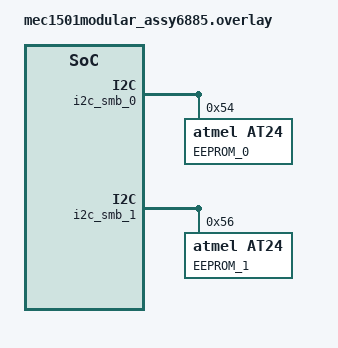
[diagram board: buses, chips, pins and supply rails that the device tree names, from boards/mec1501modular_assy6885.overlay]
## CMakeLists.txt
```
# SPDX-License-Identifier: Apache-2.0

cmake_minimum_required(VERSION 3.13.1)

find_package(Zephyr REQUIRED HINTS $ENV{ZEPHYR_BASE})
project(i2c_slave_api)

add_subdirectory(common)

FILE(GLOB app_sources src/*.c)

target_sources(app PRIVATE ${app_sources})
```

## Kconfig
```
# SPDX-License-Identifier: Apache-2.0

mainmenu "I2C Slave API Test"

source "Kconfig.zephyr"

source "tests/drivers/i2c/i2c_slave_api/common/Kconfig"
```

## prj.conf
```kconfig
CONFIG_LOG=y
CONFIG_I2C_LOG_LEVEL_INF=y
CONFIG_BOOT_BANNER=y
CONFIG_ZTEST=y
CONFIG_I2C=y
CONFIG_I2C_SLAVE=y
CONFIG_I2C_EEPROM_SLAVE=y
CONFIG_I2C_VIRTUAL=y
```

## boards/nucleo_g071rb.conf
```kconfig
# SPDX-License-Identifier: Apache-2.0

CONFIG_I2C_STM32_INTERRUPT=y
CONFIG_I2C_VIRTUAL=n
```

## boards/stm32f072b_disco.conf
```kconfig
CONFIG_I2C_STM32_INTERRUPT=y
CONFIG_I2C_VIRTUAL=n
```

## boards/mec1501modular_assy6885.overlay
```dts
/*
 * Copyright (c) 2020 Intel Corporation
 *
 * SPDX-License-Identifier: Apache-2.0
 */

&i2c_smb_0 {
	eeprom0: eeprom@54 {
		compatible = "atmel,at24";
		reg = <0x54>;
		label = "EEPROM_0";
		size = <1024>;
		pagesize = <16>;
		address-width = <8>;
		timeout = <5>;
	};
};


&i2c_smb_1 {
	eeprom1: eeprom@56 {
		compatible = "atmel,at24";
		reg = <0x56>;
		label = "EEPROM_1";
		size = <1024>;
		pagesize = <16>;
		address-width = <8>;
		timeout = <5>;
	};
};
```

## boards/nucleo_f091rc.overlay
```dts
/* SPDX-License-Identifier: Apache-2.0 */

&i2c1 {
	eeprom0: eeprom@54 {
		compatible = "atmel,at24";
		reg = <0x54>;
		label = "EEPROM_0";
		size = <1024>;
		pagesize = <16>;
		address-width = <8>;
		timeout = <5>;
	};
};


&i2c2 {
	eeprom1: eeprom@56 {
		compatible = "atmel,at24";
		reg = <0x56>;
		label = "EEPROM_1";
		size = <1024>;
		pagesize = <16>;
		address-width = <8>;
		timeout = <5>;
	};
};
```

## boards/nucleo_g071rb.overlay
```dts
/*
 * Copyright (c) 2020 Thomas Stranger
 * SPDX-License-Identifier: Apache-2.0
*/

/* I2C bus pins are exposed on the ST morpho header.
 *
 *  Bus        SDA               SCL
 *          Pin   Hdr         Pin   Hdr
 *  i2c1    PB9   CN10:5      PB8   CN10:3
 *  i2c2    PA12  CN10:12     PA11  CN10:14
 *
 * Short Pin PB9 to PA12, and PB8 to PA11, for the test to pass.
 */

&i2c1 {
	eeprom0: eeprom@54 {
		compatible = "atmel,at24";
		reg = <0x54>;
		label = "EEPROM_0";
		size = <1024>;
		pagesize = <16>;
		address-width = <8>;
		timeout = <5>;
	};
};

&i2c2 {
	eeprom1: eeprom@56 {
		compatible = "atmel,at24";
		reg = <0x56>;
		label = "EEPROM_1";
		size = <1024>;
		pagesize = <16>;
		address-width = <8>;
		timeout = <5>;
	};
};
```

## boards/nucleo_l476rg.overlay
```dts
/*
 * Copyright (c) 2020 Nordic Smiconductor ASA
 * SPDX-License-Identifier: Apache-2.0
 */

/* I2C bus pins are exposed in the Arduino Uno header.
 *
 *  Bus        SDA          SCL
 *          Pin   Hdr    Pin   Hdr
 *  i2c1    PB9   D14    PB8   D15
 *  i2c3    PC1   A4     PC0   A5
 *
 * Short D14 to A4, and D15 to A5, for the test to pass.
 */

&i2c1 {
	eeprom0: eeprom@54 {
		compatible = "atmel,at24";
		reg = <0x54>;
		label = "EEPROM_0";
		size = <1024>;
		pagesize = <16>;
		address-width = <8>;
		timeout = <5>;
	};
};

&i2c3 {
	eeprom1: eeprom@56 {
		compatible = "atmel,at24";
		reg = <0x56>;
		label = "EEPROM_1";
		size = <1024>;
		pagesize = <16>;
		address-width = <8>;
		timeout = <5>;
	};
};
```

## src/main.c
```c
/*
 * Copyright (c) 2017 BayLibre, SAS
 * Copyright (c) 2020 Nordic Semiconductor ASA
 *
 * SPDX-License-Identifier: Apache-2.0
 */

#include <errno.h>
#include <string.h>

#include <zephyr.h>
#include <device.h>
#include <stdio.h>
#include <sys/util.h>

#include <drivers/i2c.h>
#include <drivers/i2c/slave/eeprom.h>

#include <ztest.h>

#define NODE_EP0 DT_NODELABEL(eeprom0)
#define NODE_EP1 DT_NODELABEL(eeprom1)

#define TEST_DATA_SIZE	20
static const uint8_t eeprom_0_data[TEST_DATA_SIZE] = "0123456789abcdefghij";
static const uint8_t eeprom_1_data[TEST_DATA_SIZE] = "jihgfedcba9876543210";
static uint8_t i2c_buffer[TEST_DATA_SIZE];

/*
 * We need 5x(buffer size) + 1 to print a comma-separated list of each
 * byte in hex, plus a null.
 */
uint8_t buffer_print_eeprom[TEST_DATA_SIZE * 5 + 1];
uint8_t buffer_print_i2c[TEST_DATA_SIZE * 5 + 1];

static void to_display_format(const uint8_t *src, size_t size, char *dst)
{
	size_t i;

	for (i = 0; i < size; i++) {
		sprintf(dst + 5 * i, "0x%02x,", src[i]);
	}
}

static int run_full_read(const struct device *i2c, uint8_t addr,
			 const uint8_t *comp_buffer)
{
	int ret;

	TC_PRINT("Testing full read: Master: %s, address: 0x%x\n",
		 i2c->name, addr);

	/* Read EEPROM from I2C Master requests, then compare */
	ret = i2c_burst_read(i2c, addr, 0, i2c_buffer, TEST_DATA_SIZE);
	zassert_equal(ret, 0, "Failed to read EEPROM");

	if (memcmp(i2c_buffer, comp_buffer, TEST_DATA_SIZE)) {
		to_display_format(i2c_buffer, TEST_DATA_SIZE,
				  buffer_print_i2c);
		to_display_format(comp_buffer, TEST_DATA_SIZE,
				  buffer_print_eeprom);
		TC_PRINT("Error: Buffer contents are different: %s\n",
			 buffer_print_i2c);
		TC_PRINT("                         vs expected: %s\n",
			 buffer_print_eeprom);
		return -EIO;
	}

	return 0;
}

static int run_partial_read(const struct device *i2c, uint8_t addr,
			    const uint8_t *comp_buffer, unsigned int offset)
{
	int ret;

	TC_PRINT("Testing partial read. Master: %s, address: 0x%x, off=%d\n",
		 i2c->name, addr, offset);

	ret = i2c_burst_read(i2c, addr,
			     offset, i2c_buffer, TEST_DATA_SIZE-offset);
	zassert_equal(ret, 0, "Failed to read EEPROM");

	if (memcmp(i2c_buffer, &comp_buffer[offset], TEST_DATA_SIZE-offset)) {
		to_display_format(i2c_buffer, TEST_DATA_SIZE-offset,
				  buffer_print_i2c);
		to_display_format(&comp_buffer[offset], TEST_DATA_SIZE-offset,
				  buffer_print_eeprom);
		TC_PRINT("Error: Buffer contents are different: %s\n",
			 buffer_print_i2c);
		TC_PRINT("                         vs expected: %s\n",
			 buffer_print_eeprom);
		return -EIO;
	}

	return 0;
}

static int run_program_read(const struct device *i2c, uint8_t addr,
			    unsigned int offset)
{
	int ret, i;

	TC_PRINT("Testing program. Master: %s, address: 0x%x, off=%d\n",
		i2c->name, addr, offset);

	for (i = 0 ; i < TEST_DATA_SIZE-offset ; ++i) {
		i2c_buffer[i] = i;
	}

	ret = i2c_burst_write(i2c, addr,
			      offset, i2c_buffer, TEST_DATA_SIZE-offset);
	zassert_equal(ret, 0, "Failed to write EEPROM");

	(void)memset(i2c_buffer, 0xFF, TEST_DATA_SIZE);

	/* Read back EEPROM from I2C Master requests, then compare */
	ret = i2c_burst_read(i2c, addr,
			     offset, i2c_buffer, TEST_DATA_SIZE-offset);
	zassert_equal(ret, 0, "Failed to read EEPROM");

	for (i = 0 ; i < TEST_DATA_SIZE-offset ; ++i) {
		if (i2c_buffer[i] != i) {
			to_display_format(i2c_buffer, TEST_DATA_SIZE-offset,
					  buffer_print_i2c);
			TC_PRINT("Error: Unexpected buffer content: %s\n",
				 buffer_print_i2c);
			return -EIO;
		}
	}

	return 0;
}

void test_eeprom_slave(void)
{
	const char *label_0 = DT_LABEL(NODE_EP0);
	const struct device *eeprom_0 = device_get_binding(label_0);
	const struct device *i2c_0 = device_get_binding(DT_BUS_LABEL(NODE_EP0));
	int addr_0 = DT_REG_ADDR(NODE_EP0);
	const char *label_1 = DT_LABEL(NODE_EP1);
	const struct device *eeprom_1 = device_get_binding(label_1);
	const struct device *i2c_1 = device_get_binding(DT_BUS_LABEL(NODE_EP1));
	int addr_1 = DT_REG_ADDR(NODE_EP1);
	int ret, offset;

	zassert_not_null(i2c_0, "EP0 I2C device %s not found",
			 DT_BUS_LABEL(NODE_EP0));
	zassert_not_null(eeprom_0, "EEPROM device %s not found", label_0);

	TC_PRINT("Found EP0 %s on I2C Master device %s at addr %02x\n",
		 label_0, DT_BUS_LABEL(NODE_EP0), addr_0);

	zassert_not_null(i2c_1, "I2C device %s not found",
			 DT_BUS_LABEL(NODE_EP1));
	zassert_not_null(eeprom_1, "EEPROM device %s not found", label_1);

	TC_PRINT("Found EP1 %s on I2C Master device %s at addr %02x\n",
		 label_1, DT_BUS_LABEL(NODE_EP1), addr_1);

	if (IS_ENABLED(CONFIG_APP_DUAL_ROLE_I2C)) {
		TC_PRINT("Testing dual-role\n");
	} else {
		TC_PRINT("Testing single-role\n");
	}

	/* Program differentiable data into the two devices through a back door
	 * that doesn't use I2C.
	 */
	ret = eeprom_slave_program(eeprom_0, eeprom_0_data, TEST_DATA_SIZE);
	zassert_equal(ret, 0, "Failed to program EEPROM %s", label_0);
	if (IS_ENABLED(CONFIG_APP_DUAL_ROLE_I2C)) {
		ret = eeprom_slave_program(eeprom_1, eeprom_1_data,
					   TEST_DATA_SIZE);
		zassert_equal(ret, 0, "Failed to program EEPROM %s", label_1);
	}

	/* Attach each EEPROM to its owning bus as a slave device. */
	ret = i2c_slave_driver_register(eeprom_0);
	zassert_equal(ret, 0, "Failed to register EEPROM %s", label_0);

	if (IS_ENABLED(CONFIG_APP_DUAL_ROLE_I2C)) {
		ret = i2c_slave_driver_register(eeprom_1);
		zassert_equal(ret, 0, "Failed to register EEPROM %s", label_1);
	}

	/* The simulated EP0 is configured to be accessed as a slave device
	 * at addr_0 on i2c_0 and should expose eeprom_0_data.  The validation
	 * uses i2c_1 as a bus master to access this device, which works because
	 * i2c_0 and i2_c have their SDA (SCL) pins shorted (they are on the
	 * same physical bus).  Thus in these calls i2c_1 is a master device
	 * operating on the slave address addr_0.
	 *
	 * Similarly validation of EP1 uses i2c_0 as a master with addr_1 and
	 * eeprom_1_data for validation.
	 */
	ret = run_full_read(i2c_1, addr_0, eeprom_0_data);
	zassert_equal(ret, 0,
		     "Full I2C read from EP0 failed");
	if (IS_ENABLED(CONFIG_APP_DUAL_ROLE_I2C)) {
		ret = run_full_read(i2c_0, addr_1, eeprom_1_data);
		zassert_equal(ret, 0,
			      "Full I2C read from EP1 failed");
	}

	for (offset = 0 ; offset < TEST_DATA_SIZE-1 ; ++offset) {
		zassert_equal(0, run_partial_read(i2c_1, addr_0,
			      eeprom_0_data, offset),
			      "Partial I2C read EP0 failed");
		if (IS_ENABLED(CONFIG_APP_DUAL_ROLE_I2C)) {
			zassert_equal(0, run_partial_read(i2c_0, addr_1,
							  eeprom_1_data,
							  offset),
				      "Partial I2C read EP1 failed");
		}
	}

	for (offset = 0 ; offset < TEST_DATA_SIZE-1 ; ++offset) {
		zassert_equal(0, run_program_read(i2c_1, addr_0, offset),
			      "Program I2C read EP0 failed");
		if (IS_ENABLED(CONFIG_APP_DUAL_ROLE_I2C)) {
			zassert_equal(0, run_program_read(i2c_0, addr_1,
							  offset),
				      "Program I2C read EP1 failed");
		}
	}

	/* Detach EEPROM */
	ret = i2c_slave_driver_unregister(eeprom_0);
	zassert_equal(ret, 0, "Failed to unregister EEPROM %s", label_0);

	if (IS_ENABLED(CONFIG_APP_DUAL_ROLE_I2C)) {
		ret = i2c_slave_driver_unregister(eeprom_1);
		zassert_equal(ret, 0, "Failed to unregister EEPROM %s",
			      label_1);
	}
}

void test_main(void)
{
	ztest_test_suite(test_eeprom_slave, ztest_unit_test(test_eeprom_slave));
	ztest_run_test_suite(test_eeprom_slave);
}
```
